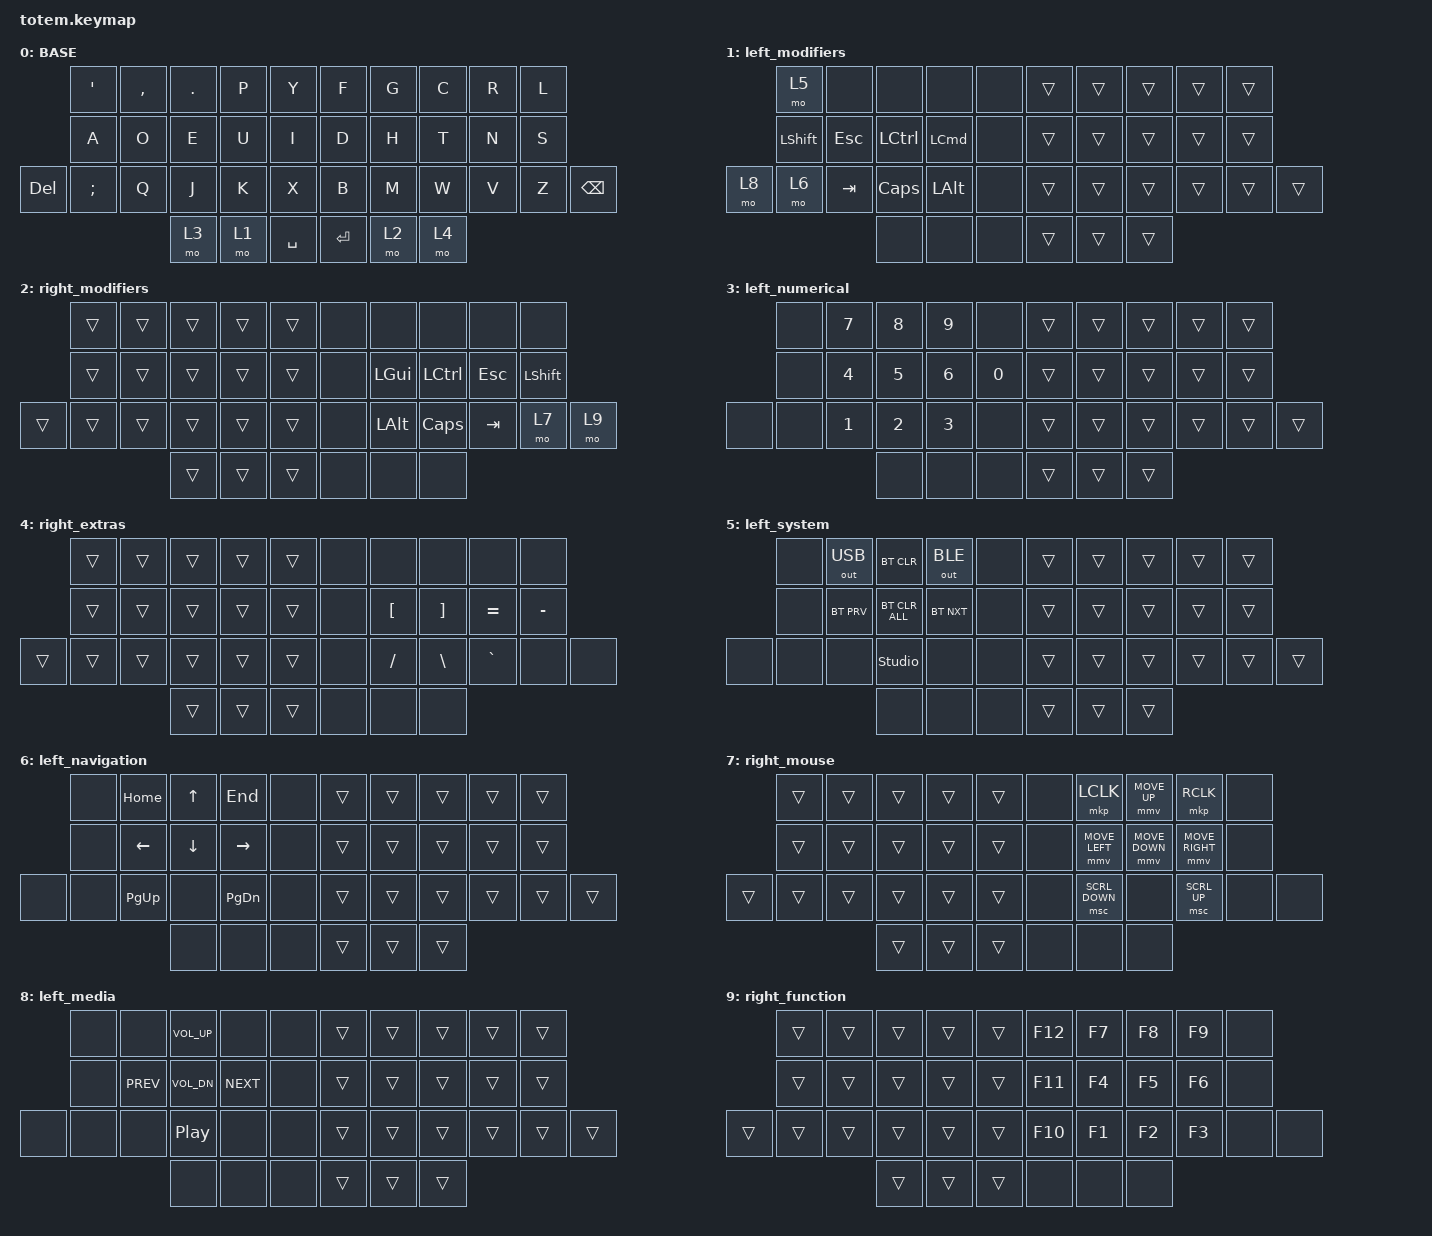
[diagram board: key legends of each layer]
//
//                                                        ▀▀▀▀▀     ▀▀▀▀▀          ▀▀█▀▀
//                                                        ▄▀▀▀▄  ▄  ▄▀▀▀▄  ▄  ▄▀▀▀▄  █  ▄▀▀▀▄
//                                                        █   █  █  █   █  █  █   █  █  █   █
//                                                         ▀▀▀   █   ▀▀▀   █   ▀▀▀   ▀   ▀▀▀
//                                                               █      ▄▄▄█▄▄▄    █   █  
//                                                               ▀      █  █  █     █▄█
//                                                             ▀▀▀▀▀    █  █  █      ▀
//                                                                      ▀  ▀  ▀
//
// ▄▄▄▄▄▄▄▄▄▄▄▄▄▄▄▄▄▄▄▄▄▄▄▄▄▄▄▄▄▄▄▄▄▄▄▄▄▄▄▄▄▄▄▄▄▄▄▄▄▄▄▄▄▄▄▄▄▄▄▄▄▄▄▄▄▄▄▄▄▄▄▄▄▄▄▄▄▄▄▄▄▄▄▄▄▄▄▄▄▄▄▄▄▄▄▄▄▄▄▄▄▄▄▄▄▄▄▄▄▄▄▄▄▄▄▄▄▄▄▄▄▄▄▄▄▄▄▄▄▄▄▄▄▄▄▄▄▄▄▄▄▄▄▄▄▄▄▄▄

#include <behaviors.dtsi>
#include <dt-bindings/zmk/bt.h>
#include <dt-bindings/zmk/keys.h>
#include <dt-bindings/zmk/outputs.h>
#include <dt-bindings/zmk/pointing.h>

#define BASE 0
#define NAV  1
#define SYM  2
#define ADJ  3
#define TVP1 4
#define TVP2 5

&mt {
    quick-tap-ms = <100>;
    global-quick-tap;
    flavor = "tap-preferred";
    tapping-term-ms = <170>;
};

/ {
    combos { compatible = "zmk,combos"; };

    keymap {
        compatible = "zmk,keymap";

        base_layer {
            label = "BASE";
            bindings = <
         &kp SQT        &kp COMMA  &kp DOT  &kp P  &kp Y        &kp F      &kp G  &kp C  &kp R  &kp L
         &kp A          &kp O      &kp E    &kp U  &kp I        &kp D      &kp H  &kp T  &kp N  &kp S
&kp DEL  &kp SEMICOLON  &kp Q      &kp J    &kp K  &kp X        &kp B      &kp M  &kp W  &kp V  &kp Z  &kp BACKSPACE
                                   &mo 3    &mo 1  &kp SPACE    &kp ENTER  &mo 2  &mo 4
            >;
        };

        left_modifiers {
            bindings = <
       &mo 5           &none       &none      &none         &none    &trans  &trans  &trans  &trans  &trans
       &kp LEFT_SHIFT  &kp ESCAPE  &kp LCTRL  &kp LCMD      &none    &trans  &trans  &trans  &trans  &trans
&mo 8  &mo 6           &kp TAB     &kp CAPS   &kp LEFT_ALT  &none    &trans  &trans  &trans  &trans  &trans  &trans
                                   &none      &none         &none    &trans  &trans  &trans
            >;
        };

        right_modifiers {
            bindings = <
        &trans  &trans  &trans  &trans  &trans    &none  &none         &none      &none    &none
        &trans  &trans  &trans  &trans  &trans    &none  &kp LEFT_GUI  &kp LCTRL  &kp ESC  &kp LSHFT
&trans  &trans  &trans  &trans  &trans  &trans    &none  &kp LEFT_ALT  &kp CAPS   &kp TAB  &mo 7      &mo 9
                        &trans  &trans  &trans    &none  &none         &none
            >;
        };

        left_numerical {
            bindings = <
       &none  &kp N7  &kp N8  &kp N9  &none     &trans  &trans  &trans  &trans  &trans
       &none  &kp N4  &kp N5  &kp N6  &kp N0    &trans  &trans  &trans  &trans  &trans
&none  &none  &kp N1  &kp N2  &kp N3  &none     &trans  &trans  &trans  &trans  &trans  &trans
                      &none   &none   &none     &trans  &trans  &trans
            >;
        };

        right_extras {
            bindings = <
        &trans  &trans  &trans  &trans  &trans    &none  &none     &none     &none      &none
        &trans  &trans  &trans  &trans  &trans    &none  &kp LBKT  &kp RBKT  &kp EQUAL  &kp MINUS
&trans  &trans  &trans  &trans  &trans  &trans    &none  &kp FSLH  &kp BSLH  &kp GRAVE  &none      &none
                        &trans  &trans  &trans    &none  &none     &none
            >;
        };

        left_system {
            bindings = <
       &none  &out OUT_USB  &bt BT_CLR      &out OUT_BLE  &none    &trans  &trans  &trans  &trans  &trans
       &none  &bt BT_PRV    &bt BT_CLR_ALL  &bt BT_NXT    &none    &trans  &trans  &trans  &trans  &trans
&none  &none  &none         &studio_unlock  &none         &none    &trans  &trans  &trans  &trans  &trans  &trans
                            &none           &none         &none    &trans  &trans  &trans
            >;
        };

        left_navigation {
            bindings = <
       &none  &kp HOME   &kp UP    &kp END    &none    &trans  &trans  &trans  &trans  &trans
       &none  &kp LEFT   &kp DOWN  &kp RIGHT  &none    &trans  &trans  &trans  &trans  &trans
&none  &none  &kp PG_UP  &none     &kp PG_DN  &none    &trans  &trans  &trans  &trans  &trans  &trans
                         &none     &none      &none    &trans  &trans  &trans
            >;
        };

        right_mouse {
            bindings = <
        &trans  &trans  &trans  &trans  &trans    &none  &mkp LCLK       &mmv MOVE_UP    &mkp RCLK        &none
        &trans  &trans  &trans  &trans  &trans    &none  &mmv MOVE_LEFT  &mmv MOVE_DOWN  &mmv MOVE_RIGHT  &none
&trans  &trans  &trans  &trans  &trans  &trans    &none  &msc SCRL_DOWN  &none           &msc SCRL_UP     &none  &none
                        &trans  &trans  &trans    &none  &none           &none
            >;
        };

        left_media {
            bindings = <
       &none  &none       &kp C_VOLUME_UP  &none       &none    &trans  &trans  &trans  &trans  &trans
       &none  &kp C_PREV  &kp C_VOL_DN     &kp C_NEXT  &none    &trans  &trans  &trans  &trans  &trans
&none  &none  &none       &kp C_PP         &none       &none    &trans  &trans  &trans  &trans  &trans  &trans
                          &none            &none       &none    &trans  &trans  &trans
            >;
        };

        right_function {
            bindings = <
        &trans  &trans  &trans  &trans  &trans    &kp F12  &kp F7  &kp F8  &kp F9  &none
        &trans  &trans  &trans  &trans  &trans    &kp F11  &kp F4  &kp F5  &kp F6  &none
&trans  &trans  &trans  &trans  &trans  &trans    &kp F10  &kp F1  &kp F2  &kp F3  &none  &none
                        &trans  &trans  &trans    &none    &none   &none
            >;
        };

        // ▄▄▄▄▄▄▄▄▄▄▄▄▄▄▄▄▄▄▄▄▄▄▄▄▄▄▄▄▄▄▄▄▄▄▄▄▄▄▄▄▄▄▄▄▄▄▄▄▄▄▄▄▄▄▄▄▄▄▄▄▄▄▄▄▄▄▄▄▄▄▄▄▄▄▄▄▄▄▄▄▄▄▄▄▄▄▄▄▄▄▄▄▄▄▄▄▄▄▄▄▄▄▄▄▄▄▄▄▄▄▄▄▄▄▄▄▄▄▄▄▄▄▄▄▄▄▄▄▄▄▄▄▄▄▄▄▄▄▄▄▄▄▄▄▄▄▄▄▄
        // ▄▄▄▄▄▄▄▄▄▄▄▄▄▄▄▄▄▄▄▄▄▄▄▄▄▄▄▄▄▄▄▄▄▄▄▄▄▄▄▄▄▄▄▄▄▄▄▄▄▄▄▄▄▄▄▄▄▄▄▄▄▄▄▄▄▄▄▄▄▄▄▄▄▄▄▄▄▄▄▄▄▄▄▄▄▄▄▄▄▄▄▄▄▄▄▄▄▄▄▄▄▄▄▄▄▄▄▄▄▄▄▄▄▄▄▄▄▄▄▄▄▄▄▄▄▄▄▄▄▄▄▄▄▄▄▄▄▄▄▄▄▄▄▄▄▄▄▄▄
        // ▄▄▄▄▄▄▄▄▄▄▄▄▄▄▄▄▄▄▄▄▄▄▄▄▄▄▄▄▄▄▄▄▄▄▄▄▄▄▄▄▄▄▄▄▄▄▄▄▄▄▄▄▄▄▄▄▄▄▄▄▄▄▄▄▄▄▄▄▄▄▄▄▄▄▄▄▄▄▄▄▄▄▄▄▄▄▄▄▄▄▄▄▄▄▄▄▄▄▄▄▄▄▄▄▄▄▄▄▄▄▄▄▄▄▄▄▄▄▄▄▄▄▄▄▄▄▄▄▄▄▄▄▄▄▄▄▄▄▄▄▄▄▄▄▄▄▄▄▄
        // ▄▄▄▄▄▄▄▄▄▄▄▄▄▄▄▄▄▄▄▄▄▄▄▄▄▄▄▄▄▄▄▄▄▄▄▄▄▄▄▄▄▄▄▄▄▄▄▄▄▄▄▄▄▄▄▄▄▄▄▄▄▄▄▄▄▄▄▄▄▄▄▄▄▄▄▄▄▄▄▄▄▄▄▄▄▄▄▄▄▄▄▄▄▄▄▄▄▄▄▄▄▄▄▄▄▄▄▄▄▄▄▄▄▄▄▄▄▄▄▄▄▄▄▄▄▄▄▄▄▄▄▄▄▄▄▄▄▄▄▄▄▄▄▄▄▄▄▄▄
        // ▄▄▄▄▄▄▄▄▄▄▄▄▄▄▄▄▄▄▄▄▄▄▄▄▄▄▄▄▄▄▄▄▄▄▄▄▄▄▄▄▄▄▄▄▄▄▄▄▄▄▄▄▄▄▄▄▄▄▄▄▄▄▄▄▄▄▄▄▄▄▄▄▄▄▄▄▄▄▄▄▄▄▄▄▄▄▄▄▄▄▄▄▄▄▄▄▄▄▄▄▄▄▄▄▄▄▄▄▄▄▄▄▄▄▄▄▄▄▄▄▄▄▄▄▄▄▄▄▄▄▄▄▄▄▄▄▄▄▄▄▄▄▄▄▄▄▄▄▄
    };
};
